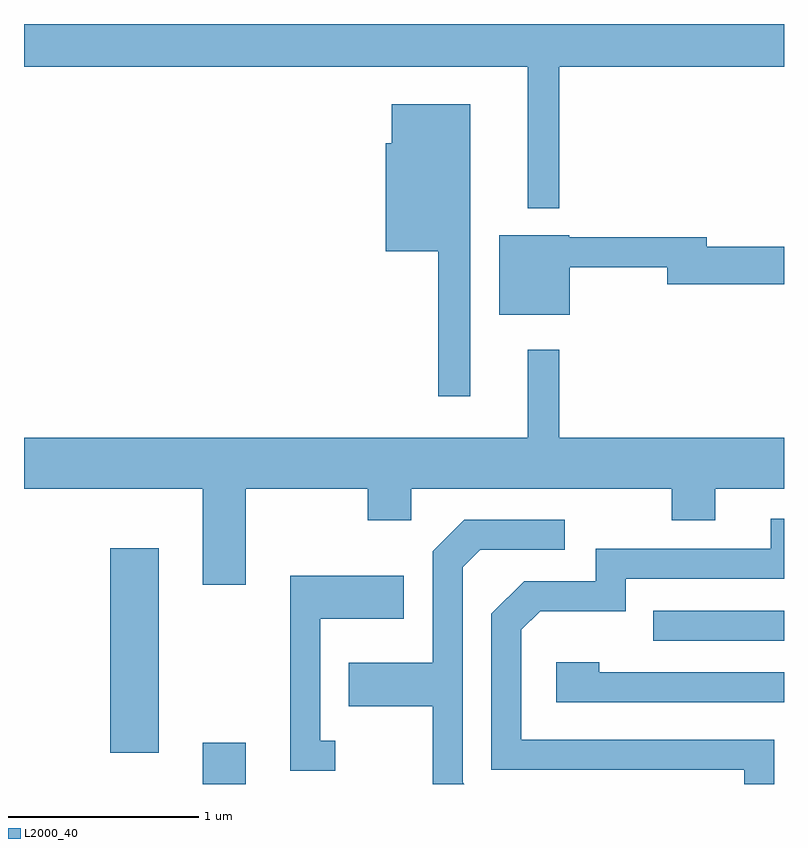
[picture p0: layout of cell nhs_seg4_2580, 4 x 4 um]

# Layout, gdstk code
import gdstk
lib = gdstk.Library(unit=1e-6, precision=1e-09)
def R(c, l, rs):  # rectangles x0, y0, x1, y1
    for r in rs: c.add(gdstk.rectangle(r[:2], r[2:], *l))
def P(c, l, *ps):  # polygons
    for p in ps: c.add(gdstk.Polygon(p, *l))
L2000_40 = (2000, 40)

nhs_seg4_2580 = lib.new_cell('nhs_seg4_2580')
R(nhs_seg4_2580, L2000_40, [(260.551,1381.982,260.779,1382.199), (260.066,1382.146,260.319,1383.224), (262.923,1382.736,263.611,1382.894)])
P(nhs_seg4_2580, L2000_40, [(262.429,1385.756),(263.611,1385.756),(263.611,1385.982),(259.611,1385.982),(259.611,1385.756),(262.261,1385.756),(262.261,1385.013),(262.429,1385.013)],
  [(261.959,1385.559),(261.546,1385.559),(261.546,1385.354),(261.516,1385.354),(261.516,1384.786),(261.791,1384.786),(261.791,1384.023),(261.959,1384.023)],
  [(262.484,1384.701),(262.996,1384.701),(262.996,1384.611),(263.611,1384.611),(263.611,1384.809),(263.204,1384.809),(263.204,1384.859),(262.48,1384.859),(262.48,1384.869),(262.111,1384.869),(262.111,1384.451),(262.484,1384.451)],
  [(260.779,1383.536),(261.421,1383.536),(261.421,1383.371),(261.649,1383.371),(261.649,1383.536),(263.021,1383.536),(263.021,1383.371),(263.249,1383.371),(263.249,1383.536),(263.611,1383.536),(263.611,1383.804),(262.429,1383.804),(262.429,1384.268),(262.261,1384.268),(262.261,1383.804),(259.611,1383.804),(259.611,1383.536),(260.551,1383.536),(260.551,1383.031),(260.779,1383.031)],
  [(263.559,1382.214),(262.229,1382.214),(262.229,1382.794),(262.327,1382.891),(262.779,1382.891),(262.779,1383.061),(263.611,1383.061),(263.611,1383.379),(263.541,1383.379),(263.541,1383.219),(262.621,1383.219),(262.621,1383.049),(262.244,1383.049),(262.071,1382.877),(262.071,1382.056),(263.401,1382.056),(263.401,1381.982),(263.559,1381.982)],
  [(261.919,1381.992),(261.919,1383.124),(262.012,1383.216),(262.458,1383.216),(262.458,1383.374),(261.929,1383.374),(261.761,1383.207),(261.761,1382.619),(261.321,1382.619),(261.321,1382.391),(261.761,1382.391),(261.761,1381.982),(261.929,1381.982)],
  [(261.248,1382.209),(261.169,1382.209),(261.169,1382.851),(261.609,1382.851),(261.609,1383.079),(261.011,1383.079),(261.011,1382.051),(261.248,1382.051)],
  [(263.611,1382.569),(262.639,1382.569),(262.639,1382.624),(262.411,1382.624),(262.411,1382.411),(263.611,1382.411)])

lib.write_gds('nhs_seg4_2580.gds')
